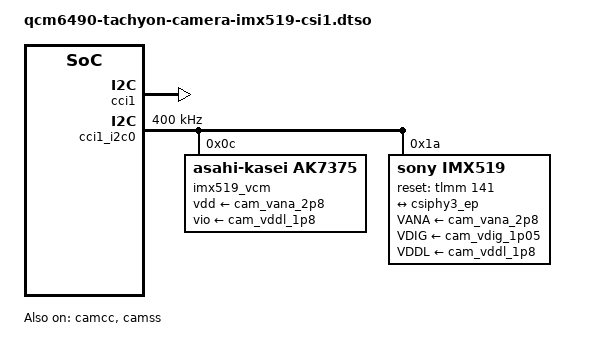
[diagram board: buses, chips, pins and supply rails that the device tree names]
// SPDX-License-Identifier: BSD-3-Clause
/*
 * Particle Tachyon camera overlay
 *
 * IMX519 on CSI1.
 */

/dts-v1/;
/plugin/;

#include <dt-bindings/clock/qcom,camcc-sc7280.h>
#include <dt-bindings/gpio/gpio.h>

&camcc {
    status = "okay";
};

&camss {
    status = "okay";

    vdda-phy-supply = <&vreg_l10c_0p88>;
    vdda-pll-supply = <&vreg_l6b_1p2>;

    ports {
        #address-cells = <1>;
        #size-cells = <0>;

        port@3 {
            reg = <3>;
            csiphy3_ep: endpoint {
                clock-lanes = <7>;
                data-lanes = <0 1>;
                remote-endpoint = <&imx519_ep>;
            };
        };
    };
};

&cci1 {
    status = "okay";
    /*
     * The i2c-qcom-cci divider tables assume a 37.5 MHz CCI clock but the
     * driver does not program the RCG itself; without this the clock stays
     * at the 19.2 MHz XO default and every I2C timing stretches by ~2x.
     * Note: never configure a true 1 MHz bus on this module - the sensor
     * locks up holding SDA low until a full power cycle.
     */
    assigned-clocks = <&camcc CAM_CC_CCI_1_CLK_SRC>;
    assigned-clock-rates = <37500000>;
};

&cci1_i2c0 {
    status = "okay";
    clock-frequency = <400000>;
    #address-cells = <1>;
    #size-cells = <0>;

    imx519_vcm: camera-lens@c {
        compatible = "asahi-kasei,ak7375";
        reg = <0x0c>;
        vdd-supply = <&cam_vana_2p8>;
        vio-supply = <&cam_vddl_1p8>;
    };

    imx519: camera@1a {
        compatible = "sony,imx519";
        reg = <0x1a>;
        lens-focus = <&imx519_vcm>;

        /*
         * The MCLK branch clocks live inside the TITAN_TOP GDSC power
         * domain on this camcc (verified by hand: cam_cc_mclk3_clk only
         * ungates while the GDSC is powered). Attach the sensor to the
         * GDSC so runtime-resume powers it before the MCLK is enabled.
         */
        power-domains = <&camcc CAM_CC_TITAN_TOP_GDSC>;

        /* Expose standard V4L2 camera properties for libcamera */
        orientation = <2>; /* V4L2_FWNODE_ORIENTATION_EXTERNAL */
        rotation = <0>; /* 0, 90, 180 or 270 */

        reset-gpios = <&tlmm 141 GPIO_ACTIVE_HIGH>;
        pinctrl-names = "default", "sleep";
        pinctrl-0 = <&csi1_mclk_default &csi1_reset_default
                 &csi1_power_en_default>;
        pinctrl-1 = <&csi1_mclk_sleep &csi1_reset_sleep
                 &csi1_power_en_sleep>;

        clocks = <&camcc CAM_CC_MCLK3_CLK>;
        assigned-clocks = <&camcc CAM_CC_MCLK3_CLK>;
        assigned-clock-rates = <24000000>;

        VANA-supply = <&cam_vana_2p8>;
        VDIG-supply = <&cam_vdig_1p05>;
        VDDL-supply = <&cam_vddl_1p8>;

        status = "okay";

        port {
            imx519_ep: endpoint {
                clock-lanes = <7>;
                link-frequencies = /bits/ 64 <493500000>;
                /* Sensor-side lane numbering per the imx519 binding. */
                data-lanes = <1 2>;
                remote-endpoint = <&csiphy3_ep>;
            };
        };
    };
};
